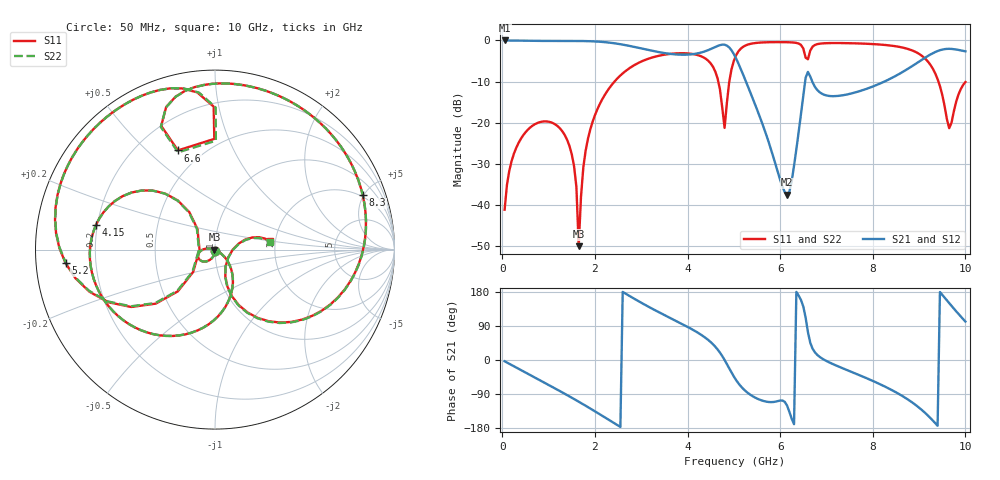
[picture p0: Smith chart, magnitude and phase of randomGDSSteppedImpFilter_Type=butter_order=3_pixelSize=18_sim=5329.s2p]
! freq	dB(S11)	phase(S11)	dB(S12)	phase(S12)
!  dB(S21)	phase(S21)	dB(S22)	phase(S22)
!S-par simulation data
#  GHz  S  DB  R 50
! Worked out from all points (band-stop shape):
!   200 points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, 50 MHz to 10 GHz, reference 50 ohm
!   highest |S21| = 0.00 dB at 50 MHz (marker M1); lowest = -37.6 dB at 6.15 GHz (marker M2)
!   |S21| within 3 dB of the highest: start of sweep to 3.463 GHz; 4.271 GHz to 4.983 GHz (711.4 MHz wide, 15.4 % of centre) (the widest 2 of 3)
!   lowest |S11| = -50.1 dB at 1.65 GHz (marker M3), VSWR 1.01, Z = 49.7 - j0.0774 ohm
!   |S11| at or under -10 dB: start of sweep to 2.425 GHz; 4.663 GHz to 4.902 GHz (238.7 MHz wide, 4.99 % of centre); 9.417 GHz to end of sweep
!   |S22| runs from -50.0 to -0.4 dB; largest |S21 - S12| = 0
!   S11 on the Smith chart (normalised r, x): 50 MHz: 1.00, -0.02; 4.15 GHz: 0.19, +0.10; 5.2 GHz: 0.09, -0.04; 6.6 GHz: 0.37, +0.63; 8.3 GHz: 1.87, +4.92; 10 GHz: 1.88, +0.19
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0.05  -41.23 -93.1  -0.00 -3.4  -0.00 -3.4  -41.23 -93.1
0.4  -23.97 -116.3  -0.06 -26.4  -0.06 -26.4  -23.97 -116.3
1.1  -20.17 -162.7  -0.13 -72.4  -0.13 -72.4  -20.17 -162.7
1.5  -27.71 171.6  -0.13 -99.5  -0.13 -99.5  -27.71 171.7
1.6  -35.65 168.0  -0.13 -106.5  -0.13 -106.5  -35.64 168.3
1.65  -50.10 -165.6  -0.13 -110.0  -0.13 -110.0  -49.96 -164.3
1.75  -30.88 -31.5  -0.15 -117.1  -0.15 -117.1  -30.88 -31.8
2.3  -11.78 -69.2  -0.52 -157.9  -0.52 -157.9  -11.78 -69.3
3.4  -3.69 -145.4  -2.88 124.9  -2.88 124.9  -3.69 -145.5
4.15  -3.38 168.4  -3.28 77.3  -3.28 77.3  -3.38 168.4
4.6  -7.59 131.6  -1.59 35.0  -1.59 35.0  -7.58 131.8
4.8  -21.30 -179.4  -1.04 0.2  -1.04 0.2  -20.98 -179.7
5.05  -3.57 -153.7  -4.42 -53.1  -4.42 -53.1  -3.57 -154.2
5.2  -1.55 -174.8  -8.31 -75.8  -8.31 -75.8  -1.55 -175.2
6.15  -0.43 118.6  -37.58 -120.5  -37.58 -120.5  -0.44 118.2
6.6  -4.59 110.5  -7.67 73.4  -7.67 73.4  -4.74 110.8
6.7  -1.51 108.9  -10.20 29.9  -10.20 29.9  -1.54 109.0
8.3  -1.14 20.2  -9.76 -72.4  -9.76 -72.4  -1.14 19.9
8.35  -1.20 17.2  -9.48 -75.5  -9.48 -75.5  -1.20 16.9
9.45  -11.11 -70.0  -2.38 179.4  -2.38 179.4  -11.11 -70.4
9.65  -21.38 -29.8  -2.04 150.2  -2.04 150.2  -21.30 -30.3
10  -10.13 8.5  -2.65 101.4  -2.65 101.4  -10.14 7.6
